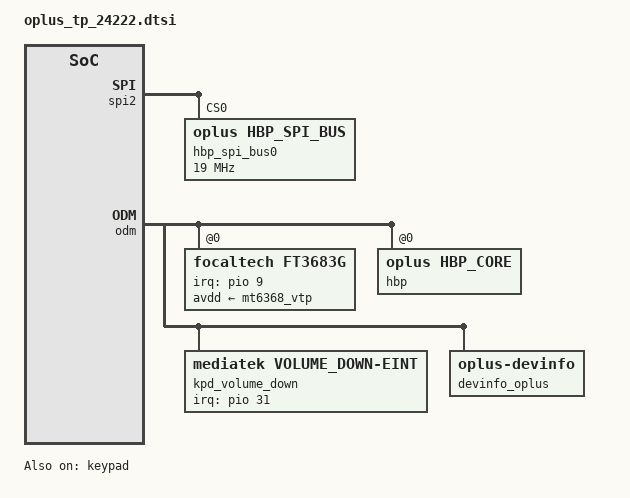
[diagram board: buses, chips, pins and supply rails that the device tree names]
&spi2 {
	status = "okay";
	#address-cells = <1>;
	#size-cells = <0>;

	hbp_spi_bus0:hbp_spi@0 {
		compatible = "oplus,hbp_spi_bus";
		reg = <0x0>;
		status = "okay";

		spi-max-frequency = <19000000>;
		bus,spi-mode = <0>;
		bus,rx-dummy = <0>;
		bus,tx-dummy = <0>;
	};
};

&odm {
	focaltech:focaltech@0 {
		compatible = "focaltech,ft3683g";
		status = "okay";

		device,id = <0>;
		device,chip_name = "ft3683g";
		device,resolution = <20096 44160>;

		/*interrupt config*/
		interrupt-parent = <&pio>;
		interrupts = <9 0x2002>;
		irq-gpio = <&pio 9 0x2002>;

		pinctrl-names = "default",
			"ts_reset_active",
			"ts_reset_idle",
			"ts_resume",
			"ts_suspend";
		pinctrl-0 = <&ts_int_active &ts_reset_active>;
		pinctrl-1 = <&ts_reset_active>;
		pinctrl-2 = <&ts_reset_idle>;
		pinctrl-3 = <&ctp_oplus_spi_active>;
		pinctrl-4 = <&ctp_oplus_spi_suspend>;

		/*cs active state, not used now*/
		spi,cs_active = <0>;

		/*power config*/
		power,avdd-supply = <&mt6368_vtp>;
		power,avdd_volt = <3300000 3300000>;
		/*
		power,vddi-supply = <&mt6369_vtp>;
		power,vddi_volt = <1800000 1800000>;
		*/

		/*bus config*/
		device,attached_bus = <&hbp_spi_bus0>;
	};

	hbp:hbp@0 {
		compatible = "oplus,hbp_core";
		hbp,project = "milkway-s2";
		hbp,devices = <&focaltech>;
	};
};

&pio {
	ts_int_active: ts_int_active {
		pins_cmd_dat {
			pinmux = <PINMUX_GPIO9__FUNC_GPIO9>;
			bias-disable;
			input-enable;
		};
	};
	ts_reset_active: ts_reset_active {
		pins_cmd_dat {
			pinmux = <PINMUX_GPIO60__FUNC_GPIO60>;
			output-high;
		};
	};
	ts_reset_idle: ts_reset_idle {
		pins_cmd_dat {
			pinmux = <PINMUX_GPIO60__FUNC_GPIO60>;
			output-low;
		};
	};
	ctp_oplus_spi_active: spi_active {
		pins_cmd_dat {
			pinmux = <PINMUX_GPIO11__FUNC_SPI2_CLK>,
				<PINMUX_GPIO12__FUNC_SPI2_CSB>,
				<PINMUX_GPIO13__FUNC_SPI2_MI>,
				<PINMUX_GPIO14__FUNC_SPI2_MO>;
			bias-disable;
			drive-strength = <4>;
		};
	};
	ctp_oplus_spi_suspend: spi_suspend {
		pins_cmd_dat {
			pinmux = <PINMUX_GPIO11__FUNC_GPIO11>,
					<PINMUX_GPIO12__FUNC_GPIO12>,
					<PINMUX_GPIO13__FUNC_GPIO13>,
					<PINMUX_GPIO14__FUNC_GPIO14>;
			bias-disable;
			output-low;
			drive-strength = <2>;
		};
	};
};

&keypad {
        keypad,volume-down = <&pio 31 0x00>;
        pinctrl-names = "volume_down_as_int";
        pinctrl-0 = <&volume_down_gpio_eint>;
        status = "okay";
};

&pio {
        volume_down_gpio_eint:volume_down@0{
                pins_cmd_dat {
                        pinmux = <PINMUX_GPIO31__FUNC_GPIO31>;
                        slew-rate = <0>;  /*direction 0:in, 1:out*/
                        input-enable;
                        bias-disable;
                };
        };
};

&odm {
        kpd_volume_down:kpd_volume_down {
                compatible = "mediatek, VOLUME_DOWN-eint";
                interrupt-parent = <&pio>;
                interrupts = <31 IRQ_TYPE_EDGE_FALLING 31 0>;
                debounce = <32000>;
                status = "okay";
        };
};

&odm {
	devinfo {
		status = "disabled";
	};

	devinfo_oplus {
		compatible = "oplus-devinfo";

		pinctrl-names = "default", "aboard_gpio0_sleep", "aboard_gpio0_active", "aboard_gpio0_idle";
		pinctrl-0 = <&hw_pins_default>;
		pinctrl-1 = <&aboard_pin_gpio0_sleep>;
		pinctrl-2 = <&aboard_pin_gpio0_active>;
		pinctrl-3 = <&aboard_pin_gpio0_idle>;

		main-sub {
			compatible = "hw-match, main-sub";
			use_tristate_gpio;
			rf_match_support;
			aboard-gpio0 = <&pio 129 0>;
			aboard-patterns = <1 0 1 0 1 0 1 0 1 0>;	/*0[high-resistance] 1[pull-down] 2[pull-up]*/
			rf-patterns = <40 41 43 44 49 50 52 53 67 68 >;
			/*main board*/
			match-projects = <24222 24222 24222 24222 24222 24222 24222 24222 24222 24222>;
		};
	};
};

&pio{
	hw_pins_default:default@hw_sub_id {
	};

	aboard_pin_gpio0_sleep:sleep@id0 {
		pins_cmd_dat {
			pinmux = <PINMUX_GPIO129__FUNC_GPIO129>;
			slew-rate = <0>;
			bias-pull-down = <MTK_PULL_SET_RSEL_000>;
			input-enable;
		};
	};

	aboard_pin_gpio0_active:active@id0 {
		pins_cmd_dat {
			pinmux = <PINMUX_GPIO129__FUNC_GPIO129>;
			slew-rate = <0>;
			bias-pull-up = <MTK_PULL_SET_RSEL_000>;
			input-enable;
		};
	};

	aboard_pin_gpio0_idle:idle@id0 {
		pins_cmd_dat {
			pinmux = <PINMUX_GPIO129__FUNC_GPIO129>;
			slew-rate = <0>;
			bias-disable;
			input-enable;
		};
	};
};

